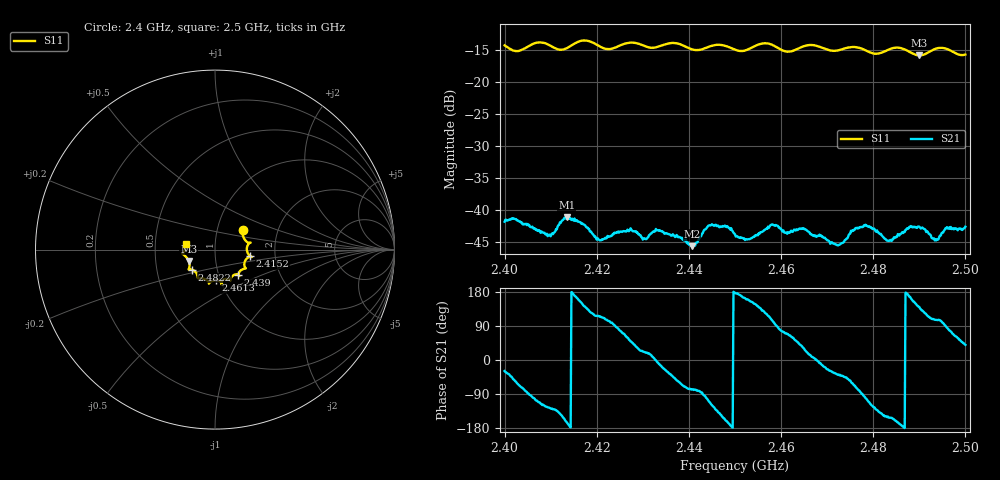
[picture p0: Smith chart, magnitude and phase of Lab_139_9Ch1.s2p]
# Hz S RI R 50
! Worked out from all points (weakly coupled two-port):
!   601 points, 2.4 GHz to 2.5 GHz, reference 50 ohm
!   highest |S21| = -41.21 dB at 2.4135 GHz (marker M1); lowest = -45.7 dB at 2.4407 GHz (marker M2)
!   lowest |S11| = -15.9 dB at 2.49 GHz (marker M3), VSWR 1.38, Z = 36.9 - j4.84 ohm
!   |S11| at or under -10 dB: start of sweep to end of sweep
!   S12 and S22 are empty: the file has one direction only
!   S11 on the Smith chart (normalised r, x): 2.4 GHz: 1.33, +0.31; 2.4152 GHz: 1.48, -0.11; 2.439 GHz: 1.24, -0.36; 2.4613 GHz: 0.96, -0.34; 2.4822 GHz: 0.76, -0.17; 2.5 GHz: 0.72, +0.05
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2.4e9  0.1561 0.1112  0.00703 -0.00393  0 0  0 0
2.4095e9  0.1909 0.0356  -0.00363 -0.00513  0 0  0 0
2.4135e9  0.1814 -0.0175  -0.00839 -0.00231  0 0  0 0
2.415167e9  0.1944 -0.0362  -0.0084 0.0015  0 0  0 0
2.416667e9  0.2042 -0.0419  -0.00679 0.00373  0 0  0 0
2.4205e9  0.1843 -0.0443  -0.00248 0.00526  0 0  0 0
2.433333e9  0.1327 -0.1319  0.00686 -0.000912  0 0  0 0
2.439e9  0.1285 -0.1391  0.00193 -0.00541  0 0  0 0
2.440667e9  0.1128 -0.1383  0.00114 -0.00507  0 0  0 0
2.444667e9  0.0847 -0.1688  -0.00311 -0.00687  0 0  0 0
2.45e9  0.0688 -0.1638  -0.00642 0.00032  0 0  0 0
2.453167e9  0.0379 -0.1765  -0.00539 0.00237  0 0  0 0
2.458333e9  0.0377 -0.1878  -0.0014 0.00746  0 0  0 0
2.461333e9  0.00722 -0.1708  0.00237 0.00604  0 0  0 0
2.466667e9  -0.0336 -0.1901  0.00629 0.000909  0 0  0 0
2.4725e9  -0.0715 -0.1602  0.00417 -0.0033  0 0  0 0
2.4785e9  -0.0983 -0.1436  -0.00158 -0.00731  0 0  0 0
2.482167e9  -0.128 -0.1118  -0.00508 -0.00341  0 0  0 0
2.483333e9  -0.1392 -0.1104  -0.00504 -0.00268  0 0  0 0
2.49e9  -0.1467 -0.0638  -0.00564 0.00475  0 0  0 0
2.493667e9  -0.1793 -0.025  -0.0016 0.00553  0 0  0 0
2.5e9  -0.1591 0.0333  0.00565 0.00473  0 0  0 0
